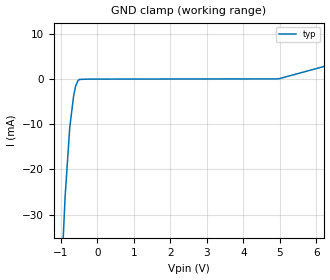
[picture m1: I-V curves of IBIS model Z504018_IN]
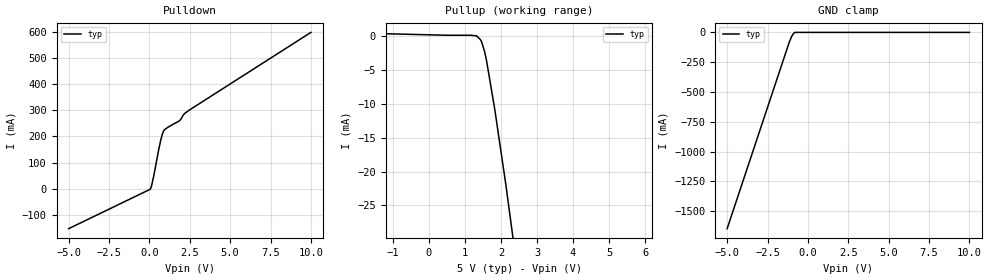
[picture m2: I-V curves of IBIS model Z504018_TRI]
| YOU ARE ONLY AUTHORIZED TO USE THIS SOFTWARE
| ACCORDING TO LICENSOR'S LICENSE RESTRICTIONS.
[IBIS Ver] 3.1
[File Name] mc74f368n.ibs
[File Rev] 2.0
[Source] Measured and created by ICX Technology
[Date] Friday 7/14/00 9:08:05 AM
[Copyright]
| (C) COPYRIGHT 1993-2000
| MENTOR GRAPHICS CORPORATION
| ICX STANDARD LIBRARY, ICX PROJECT MODELING,
| ICX CUSTOM MODELING, ICX VENDOR MODEL
| ALL RIGHTS RESERVED.
| THE FOLLOWING ARE TRADEMARKS OR SERVICE MARKS OF
| MENTOR GRAPHICS CORPORATION:ICX (R), ICX STANDARD
| LIBRARY(R), ICX PROJECT MODELING(R), ICX CUSTOM
| MODELING(R), qualityIBIS(TM), MODELVIEWER(TM),
| AND MODELEDITOR(TM)
| ALL COPIES OF SOFTWARE, INCLUDING BUT NOT LIMITED TO
| ANY MODIFICATIONS, ENHANCEMENTS OR DERIVATIVE WORKS,
| MUST CONTAIN ALL MENTOR GRAPHICS CORPORATION'S
| NOTICES AND LEGENDS, INCLUDING THOSE EMBEDDED IN
| SOFTWARE AND THOSE AFFIXED TO SOFTWARE MEDIUM
| AND CONTAINER, AS RECEIVED FROM MENTOR GRAPHICS
| CORPORATION.
|  ZAP Model Builder 2.7
[Component] MC74F368N
[Manufacturer] OnSemiconductor
[Package]
| variable   typ   min   max
R_pkg  .212ohms NA NA
L_pkg  4.758nH NA NA
C_pkg  1.143pF NA NA
[Pin] signal_name  model_name  R_pin  L_pin C_pin
1 _G1 Z504018_IN .224 7.258n 1.578p
2 A0 Z504018_IN .216 5.258n 1.288p
3 _Y0 Z504018_TRI .208 3.758n .998p
4 A1 Z504018_IN .2 2.758n .708p
5 _Y1 Z504018_TRI .2 2.758n .708p
6 A2 Z504018_IN .208 3.758n .998p
7 _Y2 Z504018_TRI .216 5.258n 1.288p
8 GROUND GND .224 7.258n 1.578p
9 _Y3 Z504018_TRI .224 7.258n 1.578p
10 A3 Z504018_IN .216 5.258n 1.288p
11 _Y4 Z504018_TRI .208 3.758n .998p
12 A4 Z504018_IN .2 2.758n .708p
13 _Y5 Z504018_TRI .2 2.758n .708p
14 A5 Z504018_IN .208 3.758n .998p
15 _G2 Z504018_IN .216 5.258n 1.288p
16 VCC POWER .224 7.258n 1.578p
| Models and submodels in the file (2): Z504018_IN (Input), Z504018_TRI (3-state)
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| (C) COPYRIGHT 1993-2000
| MENTOR GRAPHICS CORPORATION
| ICX STANDARD LIBRARY, ICX PROJECT MODELING,
| ICX CUSTOM MODELING, ICX VENDOR MODEL
| ALL RIGHTS RESERVED.
| THE FOLLOWING ARE TRADEMARKS OR SERVICE MARKS OF
| MENTOR GRAPHICS CORPORATION:ICX (R), ICX STANDARD
| LIBRARY(R), ICX PROJECT MODELING(R), ICX CUSTOM
| MODELING(R), qualityIBIS(TM), MODELVIEWER(TM),
| AND MODELEDITOR(TM)
| ALL COPIES OF SOFTWARE, INCLUDING BUT NOT LIMITED TO
| ANY MODIFICATIONS, ENHANCEMENTS OR DERIVATIVE WORKS,
| MUST CONTAIN ALL MENTOR GRAPHICS CORPORATION'S
| NOTICES AND LEGENDS, INCLUDING THOSE EMBEDDED IN
| SOFTWARE AND THOSE AFFIXED TO SOFTWARE MEDIUM
| AND CONTAINER, AS RECEIVED FROM MENTOR GRAPHICS
| CORPORATION.
| Model Application Version 1.89 2/18/99.
[Model] Z504018_IN
Model_type Input
Vinl = 800.0mV
Vinh = 2.000V
C_comp 4.000pF NA NA
| variable typ   min   max
[Voltage Range] 5.000V NA NA
[GND Clamp Reference] 0.000V NA NA
[POWER Clamp Reference] 5.000V NA NA
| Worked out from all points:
|   GND clamp passes 1 mA (typ) near -0.57 V on its own axis
[GND Clamp]
-5V       -755.2mA   NA         NA
-883.3mV  -26.08mA   NA         NA
-756.8mV  -10.78mA   NA         NA
-648.9mV  -3.687mA   NA         NA
-593.2mV  -1.505mA   NA         NA
-527.3mV  -294.9uA   NA         NA
-484.8mV  -77.34uA   NA         NA
-242.4mV  -6.473uA   NA         NA
4.912V    39.61uA    NA         NA
4.974V    72.32uA    NA         NA
10V       11.14mA    NA         NA
[POWER Clamp]
-5V       0A         NA         NA
10V       0A         NA         NA
| (C) COPYRIGHT 1993-2000
| MENTOR GRAPHICS CORPORATION
| ICX STANDARD LIBRARY, ICX PROJECT MODELING,
| ICX CUSTOM MODELING, ICX VENDOR MODEL
| ALL RIGHTS RESERVED.
| THE FOLLOWING ARE TRADEMARKS OR SERVICE MARKS OF
| MENTOR GRAPHICS CORPORATION:ICX (R), ICX STANDARD
| LIBRARY(R), ICX PROJECT MODELING(R), ICX CUSTOM
| MODELING(R), qualityIBIS(TM), MODELVIEWER(TM),
| AND MODELEDITOR(TM)
| ALL COPIES OF SOFTWARE, INCLUDING BUT NOT LIMITED TO
| ANY MODIFICATIONS, ENHANCEMENTS OR DERIVATIVE WORKS,
| MUST CONTAIN ALL MENTOR GRAPHICS CORPORATION'S
| NOTICES AND LEGENDS, INCLUDING THOSE EMBEDDED IN
| SOFTWARE AND THOSE AFFIXED TO SOFTWARE MEDIUM
| AND CONTAINER, AS RECEIVED FROM MENTOR GRAPHICS
| CORPORATION.
| Model Application Version 1.89 2/18/99.
[Model] Z504018_TRI
Model_type 3-state
Vref=0.000V
Rref=500.0ohms
Cref=50.00pF
Vmeas=1.500V
C_comp 8.000pF NA NA
| variable typ   min   max
[Voltage Range] 5.000V NA NA
[POWER Clamp Reference] 5.000V NA NA
[Pullup Reference] 5.000V NA NA
[Pulldown Reference] 0.000V NA NA
[GND Clamp Reference] 0.000V NA NA
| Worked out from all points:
|   slope of the pulldown table from 0 to 0.75 V, typ, clamps not added: 3.74 ohm
|   slope of the pullup table from 0 to 0.75 V, typ, clamps not added: 11.3 kohm
|   GND clamp passes 1 mA (typ) near -0.82 V on its own axis
[GND Clamp]
-5V       -1.647A    NA         NA
-1.167V   -87.22mA   NA         NA
-1.025V   -39.45mA   NA         NA
-902.7mV  -10.86mA   NA         NA
-812.4mV  0A         NA         NA
10V       0A         NA         NA
[Pulldown]
-5V       -153.3mA   NA         NA
33.65mV   -2.903mA   NA         NA
123.8mV   7.872mA    NA         NA
276.5mV   50.77mA    NA         NA
566.7mV   146.3mA    NA         NA
688.6mV   181.8mA    NA         NA
800.8mV   209mA      NA         NA
962mV     227.1mA    NA         NA
1.861V    259.8mA    NA         NA
2.207V    289.2mA    NA         NA
2.51V     302.5mA    NA         NA
10V       598.6mA    NA         NA
[Pullup]
-5V       885.8uA    NA         NA
504.5mV   161.6uA    NA         NA
1.165V    161.6uA    NA         NA
1.324V    63.96uA    NA         NA
1.421V    -447.1uA   NA         NA
1.46V     -780.7uA   NA         NA
1.543V    -2.237mA   NA         NA
1.598V    -3.584mA   NA         NA
1.829V    -10.88mA   NA         NA
2.139V    -22.11mA   NA         NA
10V       -334.7mA   NA         NA
[POWER Clamp]
-5V       0A         NA         NA
10V       0A         NA         NA
[Ramp]
| variable typ min max
dV/dt_r 1.942/2.266n NA NA
dV/dt_f 1.942/312.8p NA NA
R_load = 500.0Ohms
